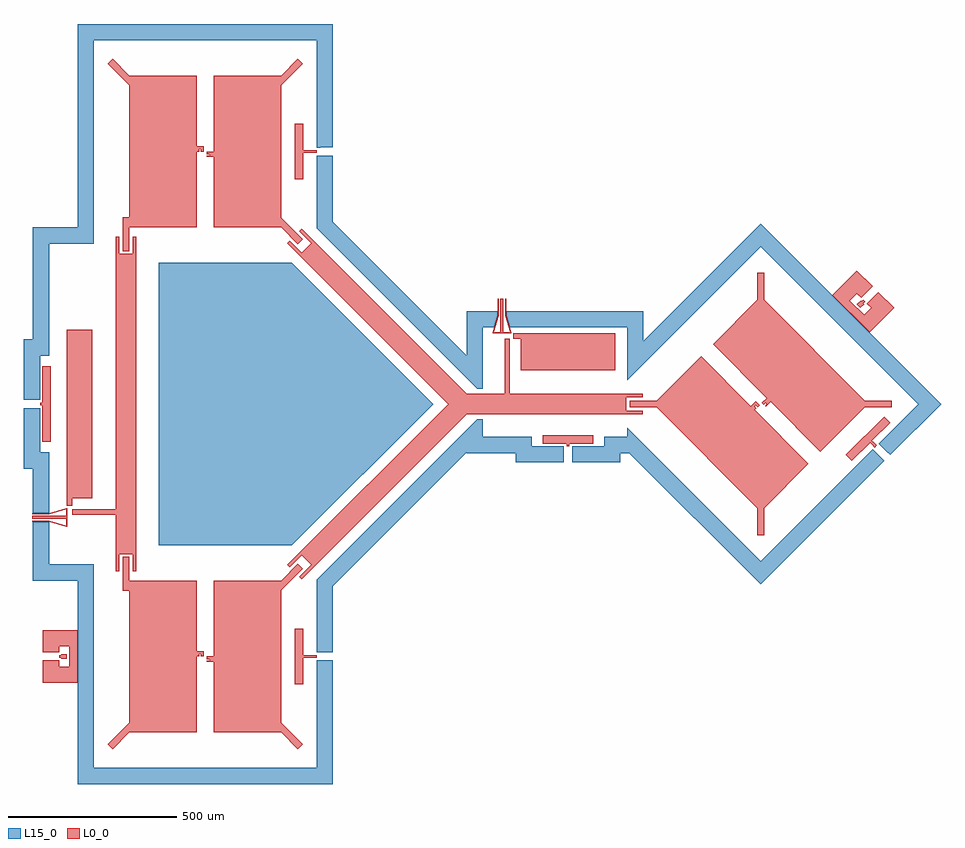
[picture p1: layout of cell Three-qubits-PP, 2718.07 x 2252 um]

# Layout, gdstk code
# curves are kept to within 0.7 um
import gdstk
lib = gdstk.Library(unit=1e-6, precision=1e-09)
def P(c, l, *ps):  # polygons
    for p in ps: c.add(gdstk.Polygon(p, *l))
L0_0 = (0, 0)
L15_0 = (15, 0)

three_qubits_pp = lib.new_cell('Three-qubits-PP')
P(three_qubits_pp, L0_0, [(2490,2978.6),(2465,2978.6),(2465,2813.4),(2490,2813.4),(2490,2892),(2530,2892),(2530,2900),(2490,2900)],
  [(4211.574,2110.523),(4098.437,1997.386),(4116.115,1979.709),(4169.855,2033.449),(4174.805,2028.499),(4184,2019),(4190,2025.5),(4180.462,2034.156),(4175.512,2039.106),(4229.252,2092.846)],
  [(2490,1482.6),(2465,1482.6),(2465,1317.4),(2490,1317.4),(2490,1396),(2530,1396),(2530,1404),(2490,1404)],
  [(1975,1175),(2175,1175),(2175,1400),(2182,1400),(2182,1408),(2187,1408),(2187,1400),(2195,1400),(2195,1416),(2175,1416),(2175,1625),(1975,1625),(1975,1695),(1955,1695),(1955,1595),(1975,1595),(1975,1203.284),(1911.36,1139.645),(1925.503,1125.503)],
  [(2488.64,1139.645),(2425,1203.284),(2425,1596.716),(2488.64,1660.355),(2474.497,1674.497),(2425,1625),(2225,1625),(2225,1400),(2205,1400),(2205,1392),(2213,1392),(2213,1387),(2205,1387),(2205,1384),(2225,1384),(2225,1175),(2425,1175),(2474.497,1125.503)],
  [(1822,1478),(1719,1478),(1719,1412),(1767,1412),(1767,1430),(1797,1430),(1797,1370),(1767,1370),(1767,1388),(1719,1388),(1719,1322),(1822,1322)],
  [(1790,1407),(1774,1407),(1774,1404),(1767,1404),(1767,1396),(1774,1396),(1774,1393),(1790,1393)],
  [(2488.64,2635.645),(2425,2699.284),(2425,3092.716),(2488.64,3156.355),(2474.497,3170.497),(2425,3121),(2225,3121),(2225,2896),(2205,2896),(2205,2888),(2213,2888),(2213,2883),(2205,2883),(2205,2880),(2225,2880),(2225,2671),(2425,2671),(2474.497,2621.503)],
  [(1975,2671),(2175,2671),(2175,2896),(2182,2896),(2182,2904),(2187,2904),(2187,2896),(2195,2896),(2195,2912),(2175,2912),(2175,3121),(1975,3121),(1925.503,3170.497),(1911.36,3156.355),(1975,3092.716),(1975,2701),(1955,2701),(1955,2601),(1975,2601)],
  [(4234.198,2158.001),(4154.198,2158),(3856,2456.198),(3856.001,2536.198),(3835.999,2536.198),(3836,2456.198),(3704.579,2324.777),(3863.678,2165.678),(3849.536,2151.536),(3855.192,2145.879),(3860.849,2151.536),(3864.385,2148),(3858.728,2142.343),(3860.849,2140.222),(3874.991,2154.364),(4022.777,2006.579),(4154.198,2138),(4234.198,2137.999)],
  [(3856,1839.802),(3987.421,1971.223),(3828.322,2130.322),(3833.272,2135.272),(3827.615,2140.929),(3831.151,2144.464),(3836.808,2138.808),(3842.464,2144.464),(3831.151,2155.778),(3817.009,2141.636),(3669.223,2289.421),(3537.802,2158),(3457.802,2158.001),(3457.802,2137.999),(3537.802,2138),(3836,1839.802),(3835.999,1759.802),(3856.001,1759.802)],
  [(4194.604,2479.633),(4160.663,2445.692),(4173.39,2432.964),(4152.177,2411.751),(4109.751,2454.177),(4130.964,2475.39),(4143.692,2462.663),(4177.633,2496.604),(4130.964,2543.273),(4058.132,2470.441),(4168.441,2360.132),(4241.273,2432.964)],
  [(4150.056,2446.399),(4155.006,2451.349),(4149.349,2457.006),(4144.399,2452.056),(4142.278,2454.177),(4130.964,2442.864),(4140.864,2432.964),(4152.177,2444.278)],
  [(1985,2593),(1945,2593),(1945,2643),(1935,2643),(1935,1836),(1806,1836),(1806,1820),(1935,1820),(1935,1653),(1945,1653),(1945,1703),(1985,1703),(1985,1653),(1995,1653),(1995,2643),(1985,2643)],
  [(1738,1824.5),(1688,1824.5),(1688,1821.5),(1738,1821.5),(1788,1836.5),(1788,1816.5),(1688,1816.5),(1688,1807.5),(1788,1807.5),(1788,1787.5),(1738,1802.5),(1688,1802.5),(1688,1799.5),(1738,1799.5),(1788,1784.5),(1791,1784.5),(1791,1839.5),(1788,1839.5)],
  [(1790,1846),(1806,1846),(1806,1868),(1865,1868),(1865,2368),(1790,2368)],
  [(1717.5,2152),(1710.5,2152),(1710.5,2144),(1717.5,2144),(1717.5,2036.4),(1742.5,2036.4),(1742.5,2259.6),(1717.5,2259.6)],
  [(3447,2128),(3447,2168),(3497,2168),(3497,2178),(3103,2178),(3103,2342),(3087,2342),(3087,2178),(2975,2178),(2485.682,2667.318),(2478.611,2660.247),(2513.966,2624.891),(2485.682,2596.607),(2450.327,2631.963),(2443.256,2624.891),(2920.148,2148),(2443.256,1671.109),(2450.327,1664.037),(2485.682,1699.393),(2513.966,1671.109),(2478.611,1635.753),(2485.682,1628.682),(2975,2118),(3497,2118),(3497,2128)],
  [(3091.5,2410),(3091.5,2460),(3088.5,2460),(3088.5,2410),(3103.5,2360),(3083.5,2360),(3083.5,2460),(3074.5,2460),(3074.5,2360),(3054.5,2360),(3069.5,2410),(3069.5,2460),(3066.5,2460),(3066.5,2410),(3051.5,2360),(3051.5,2357),(3106.5,2357),(3106.5,2360)],
  [(3113,2358),(3113,2342),(3135,2342),(3135,2248),(3415,2248),(3415,2358)],
  [(3200.01,2055.5),(3200.01,2030.5),(3271,2030.5),(3271,2023.5),(3279,2023.5),(3279,2030.5),(3349.99,2030.5),(3349.99,2055.5)])
P(three_qubits_pp, L15_0, [(3450,2077.31),(3450,2050.5),(3381.99,2050.5),(3381.99,2023.5),(3287,2023.5),(3287,1975.5),(3429.99,1975.5),(3429.99,2002.5),(3456.927,2002.5),(3846,1613.427),(4212,1979.5),(4178.34,2013.65),(3846,1681.31)],
  [(2456.892,2566),(2062.5,2566),(2062.5,1730),(2456.892,1730),(2874.893,2148)],
  [(2540.5,2908),(2578,2908.493),(2578,3274),(1822,3274),(1822,2671),(1689.5,2671),(1689.5,2339.6),(1662.5,2339.6),(1662.5,2160),(1710.5,2160),(1710.5,2291.6),(1737.5,2291.6),(1737.5,2623),(1870,2623),(1870,3226),(2530,3226),(2530,2908)],
  [(3846,2682.573),(3498,2334.573),(3498,2423.5),(3091.5,2423.5),(3091.5,2410),(3101.85,2375.5),(3450,2375.5),(3450,2218.69),(3846,2614.69),(4312.69,2148),(4195.311,2030.62),(4229.815,1997.241),(4380.573,2148)],
  [(3023,2103),(3005.255,2103),(2530,1627.745),(2530,1412),(2578,1412),(2578,1607.863),(2975,2004.863),(2975,2002.5),(3120.01,2002.5),(3120.01,1975.5),(3263,1975.5),(3263,2023.5),(3168.01,2023.5),(3168.01,2050.5),(3023,2050.5)],
  [(1710.5,2136),(1662.5,2136),(1662.5,1956.4),(1689.5,1956.4),(1689.5,1824.5),(1737.5,1824.5),(1737.5,2004.4),(1710.5,2004.4)],
  [(1737.5,1799.5),(1689.5,1799.5),(1689.5,1625),(1822,1625),(1822,1022),(2578,1022),(2578,1388),(2530,1388),(2530,1070),(1870,1070),(1870,1673),(1737.5,1673)],
  [(2578,2884),(2530,2884),(2530,2668.255),(3005.255,2193),(3023,2193),(3023,2375.5),(3056.15,2375.5),(3066.5,2410),(3066.5,2423.5),(2975,2423.5),(2975,2291.137),(2578,2688.137)])

lib.write_gds('Three-qubits-PP.gds')
